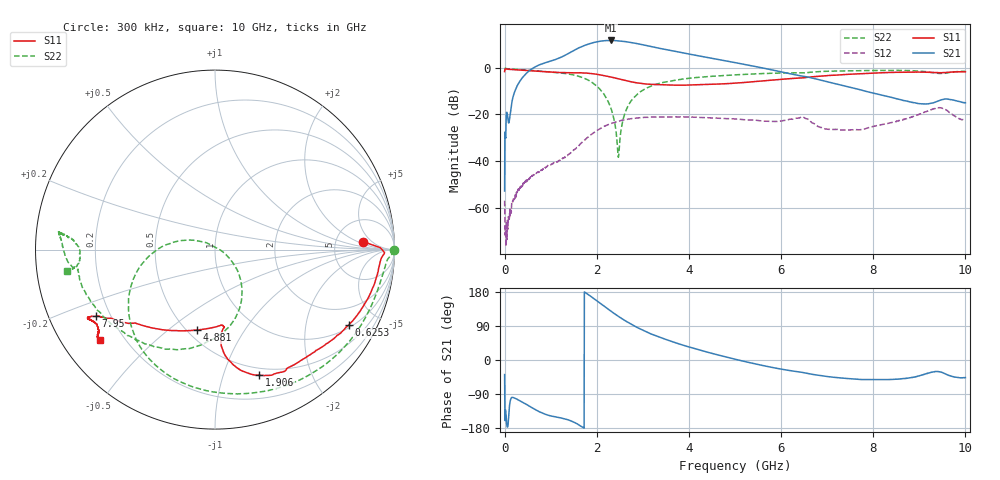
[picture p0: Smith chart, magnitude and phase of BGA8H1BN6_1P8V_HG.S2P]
!Agilent Technologies,E5071C,MY46316587,B.13.01
!Date: Tue Nov 28 12:35:00 2017
!Data & Calibration Information:
!Freq	S11:SOLT2(ON)	S21:SOLT2(ON)	S12:SOLT2(ON)	S22:SOLT2(ON)
!PortZ  Port1:50+j0  Port2:50+j0
!Above PortZ is port z conversion or system Z0 setting when saving the data.
!When reading, reference impedance value at option line is always used.
# Hz S RI R 50
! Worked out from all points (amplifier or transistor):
!   1601 points, 300 kHz to 10 GHz, reference 50 ohm
!   highest |S21| = 11.6 dB at 2.306 GHz (marker M1)
!   |S21| within 3 dB of that: 1.633 GHz to 3.271 GHz (1.638 GHz wide, 66.8 % of centre)
!   unconditionally stable (mu >= 1): start of sweep to end of sweep
!   at 1.663 GHz: K = 2.29, MAG = 14.2 dB, |S12| = -32.3 dB
!   at 5 GHz: K = 1.96, MAG = 6.4 dB, |S12| = -22.0 dB
!   at 10 GHz: K = 3.69, MAG = -4.9 dB, |S12| = -22.4 dB
!   lowest NFmin = 0.82 dB at 1.9 GHz
!   S11 on the Smith chart (normalised r, x): 300 kHz: 10, +3; 625.3 MHz: 1.11, -3.47; 1.906 GHz: 0.43, -1.32; 4.881 GHz: 0.56, -0.63; 7.95 GHz: 0.14, -0.26; 10 GHz: 0.11, -0.34
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300000  0.8258 0.0442  0.0018 -0.00142  0.00139 0.000287  0.9955 -0.000811
5.654831e7  0.9296 -0.0424  -0.1047 -0.00643  -0.000139 0.000228  0.9436 -0.1093
2.065438e8  0.8953 -0.1677  -0.0488 -0.2787  -0.000445 0.00157  0.8673 -0.3212
6.252812e8  0.7442 -0.4214  -0.6127 -0.782  -0.00133 0.00479  0.4766 -0.7238
1.387758e9  0.464 -0.6273  -1.878 -0.7458  -0.00933 0.0104  -0.3057 -0.6656
1.669e9  0.3588 -0.685  -2.793 -0.2155  -0.0182 0.0167  -0.4697 -0.4131
1.906493e9  0.245 -0.6997  -3.283 0.8815  -0.0252 0.0292  -0.4505 -0.1544
2.093987e9  0.1574 -0.6788  -3.146 1.968  -0.0261 0.0438  -0.3241 -0.00161
2.306481e9  0.0854 -0.6248  -2.4 2.977  -0.0199 0.0603  -0.126 0.0525
2.475226e9  0.0491 -0.5735  -1.568 3.405  -0.0108 0.0707  0.00972 0.0084
2.593972e9  0.0355 -0.5368  -0.9669 3.512  -0.00297 0.0764  0.0801 -0.0475
2.731468e9  0.032 -0.5009  -0.3314 3.46  0.00701 0.0802  0.1306 -0.1314
3.025209e9  0.0413 -0.4491  0.6865 2.978  0.027 0.0816  0.1415 -0.311
3.3377e9  0.0511 -0.4326  1.255 2.303  0.0434 0.0765  0.0562 -0.4515
3.943932e9  0.0284 -0.4229  1.618 1.194  0.0621 0.0625  -0.1801 -0.554
4.881404e9  -0.1008 -0.4476  1.344 0.1322  0.0697 0.041  -0.5139 -0.4572
5.00015e9  -0.1249 -0.4499  1.283 0.0462  0.07 0.0385  -0.5451 -0.4371
6.66885e9  -0.4878 -0.4099  0.4767 -0.3677  0.0664 0.00325  -0.7983 -0.0932
7.950062e9  -0.665 -0.3719  0.181 -0.2307  0.0364 0.0398  -0.8678 0.0755
8.33755e9  -0.6937 -0.3735  0.1481 -0.1869  0.0402 0.0507  -0.8684 0.0926
9.431267e9  -0.6612 -0.4137  0.1691 -0.1016  0.1239 0.0629  -0.7539 -0.00404
1e10  -0.6403 -0.5038  0.1223 -0.1285  0.0738 0.0165  -0.8262 -0.1206
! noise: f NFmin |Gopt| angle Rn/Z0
1.8e+09  0.8322  0.4242  56.46  0.2103
1.9e+09  0.822  0.3738  55.58  0.1983
2e+09  0.825  0.3584  62.68  0.1996
2.1e+09  0.8557  0.3812  67.79  0.1886
2.2e+09  0.8612  0.3949  65.2  0.1956
2.3e+09  0.8813  0.4096  68.62  0.1908
2.4e+09  0.8851  0.3903  72.07  0.1897
2.5e+09  0.8703  0.4067  75.15  0.191
2.6e+09  0.9179  0.4171  77.48  0.1882
2.7e+09  0.9327  0.4154  79.73  0.1875
